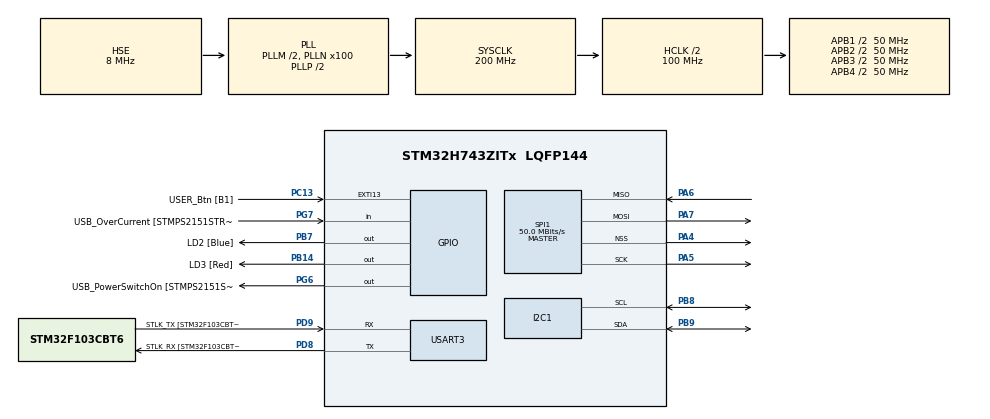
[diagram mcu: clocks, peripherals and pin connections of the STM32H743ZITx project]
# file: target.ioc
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I2C1.Timing=0x00C0EAFF
Mcu.Family=STM32H7
Mcu.Name=STM32H743ZITx
Mcu.Package=LQFP144
NVIC.PriorityGroup=NVIC_PRIORITYGROUP_4
NVIC.TIM3_IRQn=true\:0\:0\:false\:false\:true\:true\:true
PA1.GPIO_Label=RMII_REF_CLK
PA1.Signal=ETH_REF_CLK
PA10.GPIO_Label=USB_ID
PA10.Signal=USB_OTG_FS_ID
PA11.GPIO_Label=USB_DM
PA11.Signal=USB_OTG_FS_DM
PA12.GPIO_Label=USB_DP
PA12.Signal=USB_OTG_FS_DP
PA2.GPIO_Label=RMII_MDIO
PA2.Signal=ETH_MDIO
PA4.GPIO_Speed=GPIO_SPEED_FREQ_VERY_HIGH
PA4.Mode=NSS_Signal_Hard_Output
PA4.Signal=SPI1_NSS
PA5.GPIO_Speed=GPIO_SPEED_FREQ_VERY_HIGH
PA5.Mode=Full_Duplex_Master
PA5.Signal=SPI1_SCK
PA6.GPIO_Speed=GPIO_SPEED_FREQ_VERY_HIGH
PA6.Mode=Full_Duplex_Master
PA6.Signal=SPI1_MISO
PA7.GPIO_Speed=GPIO_SPEED_FREQ_VERY_HIGH
PA7.Mode=Full_Duplex_Master
PA7.Signal=SPI1_MOSI
PA8.GPIO_Label=USB_SOF [TP1]
PA8.Signal=USB_OTG_FS_SOF
PA9.GPIO_Label=USB_VBUS
PA9.Signal=USB_OTG_FS_VBUS
PB13.GPIO_Label=RMII_TXD1
PB13.Signal=ETH_TXD1
PB14.GPIO_Label=LD3 [Red]
PB14.Signal=GPIO_Output
PB7.GPIO_Label=LD2 [Blue]
PB7.Signal=GPIO_Output
PB8.Mode=I2C
PB8.Signal=I2C1_SCL
PB9.Mode=I2C
PB9.Signal=I2C1_SDA
PC1.GPIO_Label=RMII_MDC
PC1.Signal=ETH_MDC
PC13.GPIO_Label=USER_Btn [B1]
PC13.Signal=GPXTI13
PC14-OSC32_IN\ (OSC32_IN).Signal=RCC_OSC32_IN
PC15-OSC32_OUT\ (OSC32_OUT).Signal=RCC_OSC32_OUT
PC4.GPIO_Label=RMII_RXD0
PC4.Signal=ETH_RXD0
PC5.GPIO_Label=RMII_RXD1
PC5.Signal=ETH_RXD1
PD8.GPIO_Label=STLK_RX [STM32F103CBT6_PA3]
PD8.Mode=Asynchronous
PD8.Signal=USART3_TX
PD9.GPIO_Label=STLK_TX [STM32F103CBT6_PA2]
PD9.Mode=Asynchronous
PD9.Signal=USART3_RX
PG11.GPIO_Label=RMII_TX_EN
PG11.Signal=ETH_TX_EN
PG13.GPIO_Label=RMII_TXD0
PG13.Signal=ETH_TXD0
PG6.GPIO_Label=USB_PowerSwitchOn [STMPS2151STR_EN]
PG6.Signal=GPIO_Output
PG7.GPIO_Label=USB_OverCurrent [STMPS2151STR_FAULT]
PG7.Signal=GPIO_Input
PH0-OSC_IN\ (PH0).GPIO_Label=MCO
PH0-OSC_IN\ (PH0).Mode=HSE-External-Clock-Source
PH0-OSC_IN\ (PH0).Signal=RCC_OSC_IN
PH1-OSC_OUT\ (PH1).Mode=HSE-External-Clock-Source
PH1-OSC_OUT\ (PH1).Signal=RCC_OSC_OUT
ProjectManager.HeapSize=0x2000
ProjectManager.StackSize=0x2000
ProjectManager.TargetToolchain=Makefile
RCC.48MHZClocksFreq_Value=24000000
RCC.ADCFreq_Value=16125000
RCC.AHBFreq_Value=216000000
RCC.APB1CLKDivider=RCC_HCLK_DIV4
RCC.APB1Freq_Value=50000000
RCC.APB1TimFreq_Value=108000000
RCC.APB2CLKDivider=RCC_HCLK_DIV2
RCC.APB2Freq_Value=50000000
RCC.APB2TimFreq_Value=216000000
RCC.APB3Freq_Value=50000000
RCC.APB4Freq_Value=50000000
RCC.CortexFreq_Value=200000000
RCC.D1PPRE=RCC_APB3_DIV2
RCC.D2PPRE1=RCC_APB1_DIV2
RCC.D2PPRE2=RCC_APB2_DIV2
RCC.D3PPRE=RCC_APB4_DIV2
RCC.DIVM1=2
RCC.DIVN1=100
RCC.DIVQ1=4
RCC.HCLKFreq_Value=100000000
RCC.HPRE=RCC_HCLK_DIV2
RCC.HSE_VALUE=8000000
RCC.HSI_VALUE=64000000
RCC.PLLM=25
RCC.PLLMUL=RCC_PLL_MUL9
RCC.PLLN=432
RCC.PLLQ=9
RCC.PLLSourceVirtual=RCC_PLLSOURCE_HSE
RCC.PRESCALERUSB=RCC_USBCLKSOURCE_PLL_DIV1_5
RCC.SYSCLKFreq_VALUE=200000000
RCC.SYSCLKSource=RCC_SYSCLKSOURCE_PLLCLK
RCC.SYSCLKSourceVirtual=RCC_SYSCLKSOURCE_PLLCLK
RCC.USBCLockSelection=RCC_USBCLKSOURCE_HSI48
RCC.USBFreq_Value=48000000
RCC.VCOOutputFreq_Value=432000000
SPI1.CalculateBaudRate=50.0 MBits/s
SPI1.Direction=SPI_DIRECTION_2LINES
SPI1.Mode=SPI_MODE_MASTER
SPI1.VirtualNSS=VM_NSSHARD
SPI1.VirtualType=VM_MASTER
TIM3.Period=1000-1
TIM3.Prescaler=100-1
USART3.VirtualMode-Asynchronous=VM_ASYNC
VP_TIM3_VS_ClockSourceINT.Mode=Internal
board=NUCLEO-H743ZI

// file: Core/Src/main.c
/* USER CODE BEGIN Header */
/**
  ******************************************************************************
  * @file           : main.c
  * @brief          : Main program body
  ******************************************************************************
  * @attention
  *
  * <h2><center>&copy; Copyright (c) 2019 STMicroelectronics.
  * All rights reserved.</center></h2>
  *
  * This software component is licensed by ST under BSD 3-Clause license,
  * the "License"; You may not use this file except in compliance with the
  * License. You may obtain a copy of the License at:
  *                        opensource.org/licenses/BSD-3-Clause
  *
  ******************************************************************************
  */
/* USER CODE END Header */

#include "main.h"
#include "i2c.h"
#include "spi.h"
#include "tim.h"
#include "usart.h"
#include "gpio.h"

/* USER CODE BEGIN Includes */
#include <stdio.h>
#include <stdlib.h>
#include <MPU_9255.h>
#include <math.h>

/* USER CODE END Includes */

/* USER CODE BEGIN PTD */

typedef enum
{
  notChange = 0,
  isChanged,
}
btnChang_t;

typedef enum
{
  buttonUp = 0,
  buttonDown,
}
btnSt_t;

typedef struct{
  btnChang_t isChange;
  btnSt_t state;
} buttonState_t;

/* USER CODE END PTD */

/* USER CODE BEGIN PD */

asm(".global _printf_float"); //for the float supporting of printf

#ifdef __GNUC__
int __io_putchars(char *ptr, int len){
  HAL_UART_Transmit(&huart3, (uint8_t *)ptr, len,0xFFFF);
  return len;
}
#else
int fputc(int ch, FILE *f){
  HAL_UART_Transmit(&huart2, (uint8_t *)&ch, 1,0xFFFF);
  return ch;
}
#endif /* __GNUC__ */

/* USER CODE END PD */

void SystemClock_Config(void);

/* USER CODE BEGIN 0 */

/**
  * @brief 覆寫MPU9255的延時函數， MPU_9255_delay 為一弱函式
  * @ms 延時時間
  * @retval 無
  */
void MPU_9255_delay(uint32_t ms){
  HAL_Delay(ms);
}

/**
  * @brief 在初始化 MPU9255 instance時所需要提供的 i2c 讀指令
  * @DevAddress i2c地址
  * @pData 資料
  * @size 資料長度
  * @retval i2c寫入結果狀態
  */
uint8_t nmpu1_i2c_read(uint16_t DevAddress, uint8_t *pData, uint16_t size){
  return HAL_I2C_Master_Receive(&hi2c1, DevAddress, pData, size, 100);
}

/**
  * @brief 在初始化 MPU9255 instance時所需要提供的 i2c 寫指令
  * @DevAddress i2c地址
  * @pData 資料
  * @size 資料長度
  * @retval i2c寫入結果狀態
  */
uint8_t nmpu1_i2c_write(uint16_t DevAddress, uint8_t *pData, uint16_t size){
  return HAL_I2C_Master_Transmit(&hi2c1, DevAddress, pData, size, 100);
}

/**
  * @brief MPU＿9255 連線成功後繼續，blocking
  * @nmpu MPU_9255的副本
  * @retval none
  */
void connecting_MPU_9255(MPU_9255_t *nmpu){
	// Read WHO_AM_I register for MPU-9255
  while(1){
    uint8_t who = MPU_9255_whoami(nmpu);

    if (who == 0x73) // WHO_AM_I should always be 0x73
    {
      printf("MPU9255 WHO_AM_I is 0x%x\n\r", who);
      printf("MPU9255 is online...\n\r");
      HAL_Delay(1000);

      MPU_9255_initSensor(nmpu);
      MPU_9255_printInfo(nmpu);
      break;
    }
    else
    {
      printf("Could not connect to MPU9255: \n\r");
      printf("%#x \n",  who);
      HAL_Delay(1000);
    }
  }
}

/* USER CODE END 0 */

int main(void)
{

  /* MCU Configuration--------------------------------------------------------*/

  /* Reset of all peripherals, Initializes the Flash interface and the Systick. */
  HAL_Init();

  /* Configure the system clock */
  SystemClock_Config();

  /* Initialize all configured peripherals */
  MX_GPIO_Init();
  MX_USART3_UART_Init();
  MX_I2C1_Init();
  MX_TIM3_Init();
  MX_SPI1_Init();
  /* USER CODE BEGIN 2 */
  HAL_TIM_Base_Start_IT(&htim3);

  /* USER CODE END 2 */

  /* Infinite loop */
  /* USER CODE BEGIN WHILE */

  MPU_9255_t *nmpu = MPU_9255_new(
      MPU9255_ADDRESS_AD0_1, //AD0為0時的i2c地址
      SMPLRT_DIV_250Hz,
      MGT_100HZ,
      AFS_4G,
      GFS_250DPS,
      MFS_16BITS,
      nmpu1_i2c_read, //前面自己定義好的i2c寫指令
      nmpu1_i2c_write //前面自己定義好的i2c讀指令
  );

  //connecting to MPU
  connecting_MPU_9255(nmpu);

  double ax, ay, az, gx, gy, gz, mx, my, mz; // variables to hold latest sensor data values

  const double PI = atan(1) * 4;
	double yaw, pitch, roll;
	double deltat = 0.0f;                      // integration interval for both filter schemes
  volatile uint32_t lastUpdate = tim3GetUs();
  volatile uint32_t Now = 0; // used to calculate integration interval                               // used to calculate integration interval

  while (1)
  {
    if(MPU_9255_isDataReady(nmpu)) {  							// On interrupt, check if data ready interrupt
			MPU_9255_readAccelData(nmpu, &ax, &ay, &az);  	// Read the accel x/y/z adc values
			MPU_9255_readGyroData(nmpu, &gx, &gy, &gz);  	// Read the gyro x/y/z adc values
			MPU_9255_readMagData(nmpu, &mx, &my, &mz);  		// Read the mag x/y/z adc values
      Now = tim3GetUs();
      deltat = ((double)(Now - lastUpdate))/1000000.0f ; // set integration time by time elapsed since last filter update
      lastUpdate = Now;

      MPU_9255_filterUpdate(nmpu, gx*PI/180.0f, gy*PI/180.0f, gz*PI/180.0f, ax, ay, az, deltat);
			MPU_9255_getEulerDegreeFilter(nmpu, &yaw, &pitch, &roll);
      printf("Orientation: %f %f %f\n\r", yaw, pitch, roll);
		}
    /* USER CODE END WHILE */

  }
}

void SystemClock_Config(void)
{
  RCC_OscInitTypeDef RCC_OscInitStruct = {0};
  RCC_ClkInitTypeDef RCC_ClkInitStruct = {0};
  RCC_PeriphCLKInitTypeDef PeriphClkInitStruct = {0};

  /** Supply configuration update enable
  */
  HAL_PWREx_ConfigSupply(PWR_LDO_SUPPLY);
  /** Configure the main internal regulator output voltage
  */
  __HAL_PWR_VOLTAGESCALING_CONFIG(PWR_REGULATOR_VOLTAGE_SCALE3);

  while(!__HAL_PWR_GET_FLAG(PWR_FLAG_VOSRDY)) {}
  /** Initializes the CPU, AHB and APB busses clocks
  */
  RCC_OscInitStruct.OscillatorType = RCC_OSCILLATORTYPE_HSE;
  RCC_OscInitStruct.HSEState = RCC_HSE_BYPASS;
  RCC_OscInitStruct.PLL.PLLState = RCC_PLL_ON;
  RCC_OscInitStruct.PLL.PLLSource = RCC_PLLSOURCE_HSE;
  RCC_OscInitStruct.PLL.PLLM = 2;
  RCC_OscInitStruct.PLL.PLLN = 100;
  RCC_OscInitStruct.PLL.PLLP = 2;
  RCC_OscInitStruct.PLL.PLLQ = 4;
  RCC_OscInitStruct.PLL.PLLR = 2;
  RCC_OscInitStruct.PLL.PLLRGE = RCC_PLL1VCIRANGE_2;
  RCC_OscInitStruct.PLL.PLLVCOSEL = RCC_PLL1VCOWIDE;
  RCC_OscInitStruct.PLL.PLLFRACN = 0;
  if (HAL_RCC_OscConfig(&RCC_OscInitStruct) != HAL_OK)
  {
    Error_Handler();
  }
  /** Initializes the CPU, AHB and APB busses clocks
  */
  RCC_ClkInitStruct.ClockType = RCC_CLOCKTYPE_HCLK|RCC_CLOCKTYPE_SYSCLK
                              |RCC_CLOCKTYPE_PCLK1|RCC_CLOCKTYPE_PCLK2
                              |RCC_CLOCKTYPE_D3PCLK1|RCC_CLOCKTYPE_D1PCLK1;
  RCC_ClkInitStruct.SYSCLKSource = RCC_SYSCLKSOURCE_PLLCLK;
  RCC_ClkInitStruct.SYSCLKDivider = RCC_SYSCLK_DIV1;
  RCC_ClkInitStruct.AHBCLKDivider = RCC_HCLK_DIV2;
  RCC_ClkInitStruct.APB3CLKDivider = RCC_APB3_DIV2;
  RCC_ClkInitStruct.APB1CLKDivider = RCC_APB1_DIV2;
  RCC_ClkInitStruct.APB2CLKDivider = RCC_APB2_DIV2;
  RCC_ClkInitStruct.APB4CLKDivider = RCC_APB4_DIV2;

  if (HAL_RCC_ClockConfig(&RCC_ClkInitStruct, FLASH_LATENCY_1) != HAL_OK)
  {
    Error_Handler();
  }
  PeriphClkInitStruct.PeriphClockSelection = RCC_PERIPHCLK_USART3|RCC_PERIPHCLK_SPI1
                              |RCC_PERIPHCLK_I2C1;
  PeriphClkInitStruct.Spi123ClockSelection = RCC_SPI123CLKSOURCE_PLL;
  PeriphClkInitStruct.Usart234578ClockSelection = RCC_USART234578CLKSOURCE_D2PCLK1;
  PeriphClkInitStruct.I2c123ClockSelection = RCC_I2C123CLKSOURCE_D2PCLK1;
  if (HAL_RCCEx_PeriphCLKConfig(&PeriphClkInitStruct) != HAL_OK)
  {
    Error_Handler();
  }
}

void Error_Handler(void)
{
}

/************************ (C) COPYRIGHT STMicroelectronics *****END OF FILE****/
